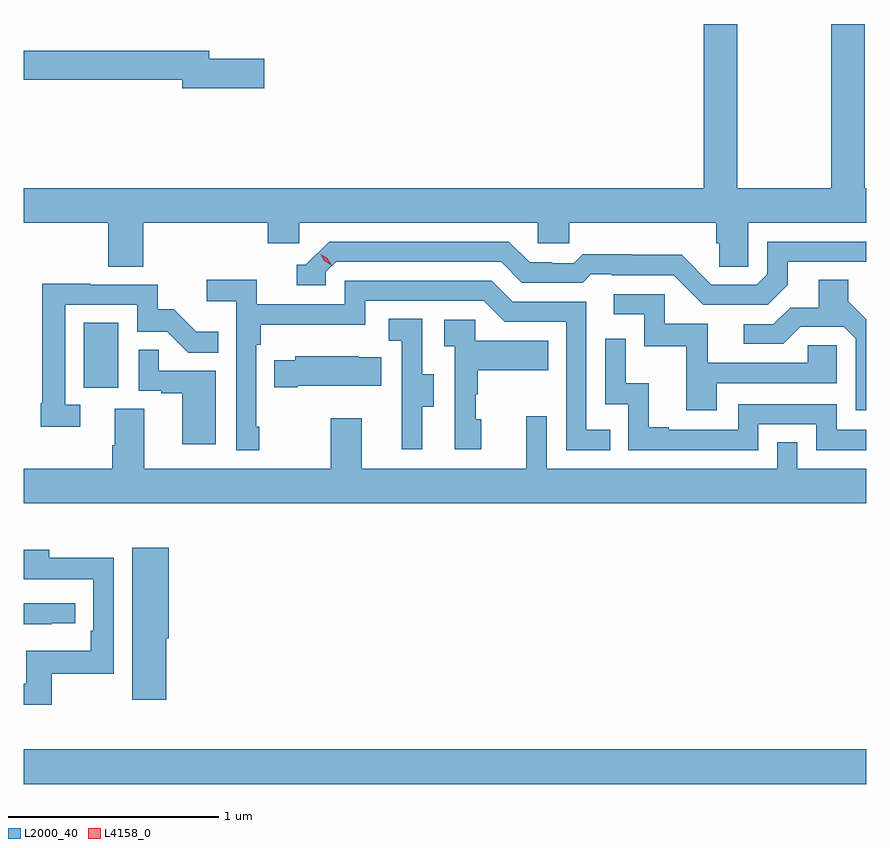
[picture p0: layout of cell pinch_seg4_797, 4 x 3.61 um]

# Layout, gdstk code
import gdstk
lib = gdstk.Library(unit=1e-6, precision=1e-09)
def R(c, l, rs):  # rectangles x0, y0, x1, y1
    for r in rs: c.add(gdstk.rectangle(r[:2], r[2:], *l))
def P(c, l, *ps):  # polygons
    for p in ps: c.add(gdstk.Polygon(p, *l))
L2000_40 = (2000, 40)
L4158_0 = (4158, 0)

pinch_seg4_797 = lib.new_cell('pinch_seg4_797')
R(pinch_seg4_797, L2000_40, [(803.729,807.476,807.729,807.64), (804.014,809.358,804.178,809.665)])
P(pinch_seg4_797, L2000_40, [(804.296,810.14),(804.887,810.14),(804.887,810.042),(805.038,810.042),(805.038,810.14),(806.169,810.14),(806.169,810.042),(806.319,810.042),(806.319,810.14),(807.017,810.14),(807.017,810.042),(807.031,810.042),(807.031,809.932),(807.168,809.932),(807.168,810.14),(807.729,810.14),(807.729,810.304),(807.722,810.304),(807.722,811.084),(807.562,811.084),(807.562,810.304),(807.117,810.304),(807.117,811.084),(806.957,811.084),(806.957,810.304),(803.729,810.304),(803.729,810.14),(804.131,810.14),(804.131,809.932),(804.296,809.932)],
  [(804.871,810.92),(804.61,810.92),(804.61,810.956),(803.729,810.956),(803.729,810.82),(804.482,810.82),(804.482,810.778),(804.871,810.778)],
  [(807.355,809.845),(807.355,809.955),(807.729,809.955),(807.729,810.051),(807.258,810.051),(807.258,809.895),(807.21,809.847),(806.994,809.847),(806.852,809.989),(806.616,809.989),(806.616,809.992),(806.383,809.992),(806.341,809.949),(806.238,809.949),(806.238,809.952),(806.131,809.952),(806.032,810.051),(805.179,810.051),(805.068,809.94),(805.025,809.94),(805.025,809.844),(805.164,809.844),(805.164,809.907),(805.212,809.955),(805.995,809.955),(806.094,809.856),(806.383,809.856),(806.422,809.895),(806.521,809.895),(806.521,809.892),(806.814,809.892),(806.955,809.751),(807.261,809.751)],
  [(804.847,809.173),(804.834,809.173),(804.834,809.561),(804.854,809.561),(804.854,809.657),(805.35,809.657),(805.35,809.769),(805.914,809.769),(806.013,809.67),(806.304,809.67),(806.304,809.061),(806.513,809.061),(806.513,809.157),(806.4,809.157),(806.4,809.766),(806.05,809.766),(805.951,809.865),(805.254,809.865),(805.254,809.754),(804.836,809.754),(804.836,809.87),(804.597,809.87),(804.597,809.768),(804.738,809.768),(804.738,809.061),(804.847,809.061)],
  [(807.729,809.682),(807.643,809.768),(807.643,809.87),(807.503,809.87),(807.503,809.738),(807.368,809.738),(807.288,809.658),(807.147,809.658),(807.147,809.565),(807.334,809.565),(807.415,809.646),(807.621,809.646),(807.678,809.589),(807.678,809.25),(807.729,809.25)],
  [(803.998,809.277),(803.925,809.277),(803.925,809.751),(804.267,809.751),(804.267,809.622),(804.411,809.622),(804.509,809.524),(804.653,809.524),(804.653,809.623),(804.549,809.623),(804.442,809.73),(804.366,809.73),(804.366,809.847),(804.047,809.847),(804.047,809.852),(803.817,809.852),(803.817,809.284),(803.809,809.284),(803.809,809.172),(803.998,809.172)],
  [(807.019,809.379),(807.588,809.379),(807.588,809.559),(807.451,809.559),(807.451,809.475),(806.977,809.475),(806.977,809.661),(806.772,809.661),(806.772,809.802),(806.529,809.802),(806.529,809.706),(806.676,809.706),(806.676,809.553),(806.875,809.553),(806.875,809.25),(807.019,809.25)],
  [(805.621,809.266),(805.675,809.266),(805.675,809.421),(805.62,809.421),(805.62,809.684),(805.461,809.684),(805.461,809.581),(805.524,809.581),(805.524,809.277),(805.523,809.277),(805.523,809.064),(805.621,809.064)],
  [(805.9,809.208),(805.875,809.208),(805.875,809.327),(805.885,809.327),(805.885,809.441),(806.219,809.441),(806.219,809.581),(805.872,809.581),(805.872,809.679),(805.725,809.679),(805.725,809.555),(805.776,809.555),(805.776,809.064),(805.9,809.064)],
  [(807.216,809.184),(807.492,809.184),(807.492,809.061),(807.729,809.061),(807.729,809.157),(807.588,809.157),(807.588,809.28),(807.12,809.28),(807.12,809.157),(806.791,809.157),(806.791,809.17),(806.696,809.17),(806.696,809.378),(806.586,809.378),(806.586,809.59),(806.49,809.59),(806.49,809.28),(806.598,809.28),(806.598,809.061),(807.216,809.061)],
  [(804.64,809.439),(804.371,809.439),(804.371,809.537),(804.276,809.537),(804.276,809.343),(804.383,809.343),(804.383,809.331),(804.482,809.331),(804.482,809.088),(804.64,809.088)],
  [(805.03,809.366),(805.427,809.366),(805.427,809.503),(805.319,809.503),(805.319,809.506),(805.017,809.506),(805.017,809.488),(804.919,809.488),(804.919,809.359),(805.03,809.359)],
  [(807.729,808.972),(807.402,808.972),(807.402,809.099),(807.306,809.099),(807.306,808.972),(806.211,808.972),(806.211,809.221),(806.114,809.221),(806.114,808.972),(805.333,808.972),(805.333,809.212),(805.186,809.212),(805.186,808.972),(804.301,808.972),(804.301,809.258),(804.161,809.258),(804.161,809.084),(804.149,809.084),(804.149,808.972),(803.729,808.972),(803.729,808.808),(807.729,808.808)],
  [(804.406,808.167),(804.418,808.167),(804.418,808.597),(804.245,808.597),(804.245,807.876),(804.406,807.876)],
  [(803.863,807.999),(804.156,807.999),(804.156,808.55),(803.851,808.55),(803.851,808.588),(803.729,808.588),(803.729,808.448),(803.747,808.448),(803.747,808.449),(804.06,808.449),(804.06,808.204),(804.047,808.204),(804.047,808.108),(803.742,808.108),(803.742,807.953),(803.729,807.953),(803.729,807.852),(803.863,807.852)],
  [(803.861,808.239),(803.974,808.239),(803.974,808.335),(803.729,808.335),(803.729,808.234),(803.861,808.234)])
P(pinch_seg4_797, L4158_0, [(805.187,809.941),(805.156,809.96),(805.14,809.992),(805.14,809.992),(805.14,809.992),(805.171,809.973),(805.188,809.941),(805.188,809.941)])

lib.write_gds('pinch_seg4_797.gds')
